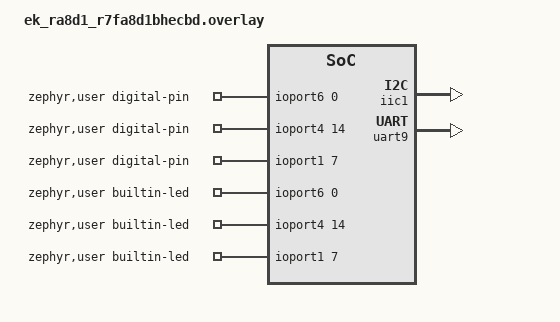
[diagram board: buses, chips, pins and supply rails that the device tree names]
/*
 * Copyright (c) Arduino s.r.l. and/or its affiliated companies
 *
 * SPDX-License-Identifier: Apache-2.0
 */

#include <zephyr/dt-bindings/adc/adc.h>

&iic1 {
	status = "okay";
};

&uart9 {
	status = "okay";
};

&flash0 {
	partitions {
		compatible = "fixed-partitions";
		#address-cells = <1>;
		#size-cells = <1>;

		user_sketch: partition@32000 {
			reg = <0x32000 DT_SIZE_K(56)>;
		};
	};
};

/ {
	zephyr,user {
		digital-pin-gpios = <&ioport6 0 GPIO_ACTIVE_HIGH>,
				    <&ioport4 14 GPIO_ACTIVE_HIGH>,
				    <&ioport1 7 GPIO_ACTIVE_HIGH>;

		builtin-led-gpios = <&ioport6 0 GPIO_ACTIVE_HIGH>,
				    <&ioport4 14 GPIO_ACTIVE_HIGH>,
				    <&ioport1 7 GPIO_ACTIVE_HIGH>;

		serials = <&uart9>;
		i2cs = <&iic1>;
		spis = <&spi0>;
	};
};
